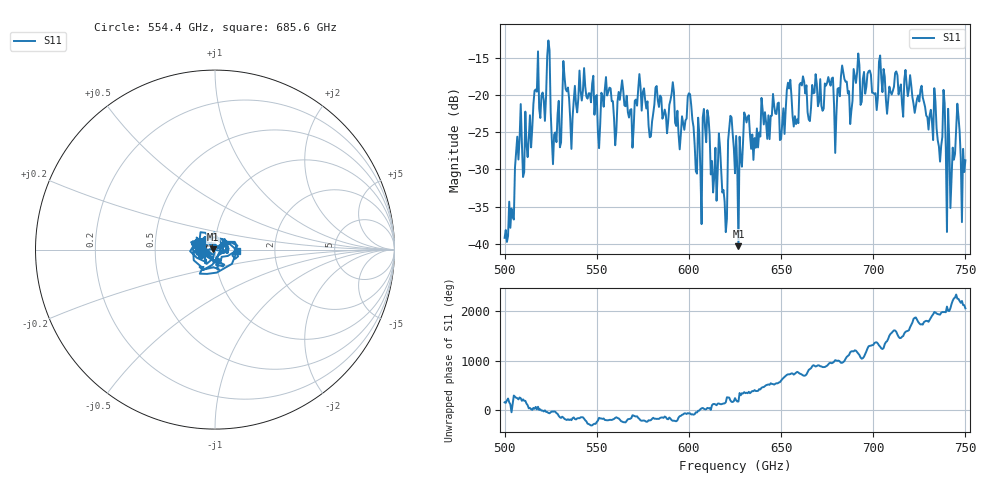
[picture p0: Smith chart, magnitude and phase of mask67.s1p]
!Created with skrf (http://scikit-rf.org).
# GHz S MA R 50.0
!freq magS11 angS11
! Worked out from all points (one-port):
!   401 points, 500 GHz to 750 GHz, reference 50 ohm
!   lowest |S11| = -40.3 dB at 626.9 GHz (marker M1), VSWR 1.02, Z = 49 + j0.068 ohm
!   |S11| at or under -10 dB: start of sweep to end of sweep
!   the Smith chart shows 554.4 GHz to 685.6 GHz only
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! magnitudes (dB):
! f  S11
! 500 GHz  -39.2
! 507.5 GHz  -28.7
! 511.2 GHz  -22.2
! 516.9 GHz  -19.2
! 523.8 GHz  -12.6
! 526.9 GHz  -25.3
! 531.2 GHz  -21.1
! 562.5 GHz  -20.6
! 579.4 GHz  -25.5
! 590.6 GHz  -19.8
! 593.8 GHz  -22.1
! 600.6 GHz  -19.9
! 605.6 GHz  -25.2
! 609.4 GHz  -26.3
! 619.4 GHz  -34.3
! 622.5 GHz  -22.8
! 625 GHz  -30.5
! 626.9 GHz  -40.3
! 631.2 GHz  -23.7
! 635 GHz  -28.7
! 656.2 GHz  -22.8
! 687.5 GHz  -23.9
! 691.2 GHz  -16.9
! 718.8 GHz  -20.1
! 738.1 GHz  -19.3
! 741.2 GHz  -26.1
! 745.6 GHz  -21.1
! 750 GHz  -28.8
